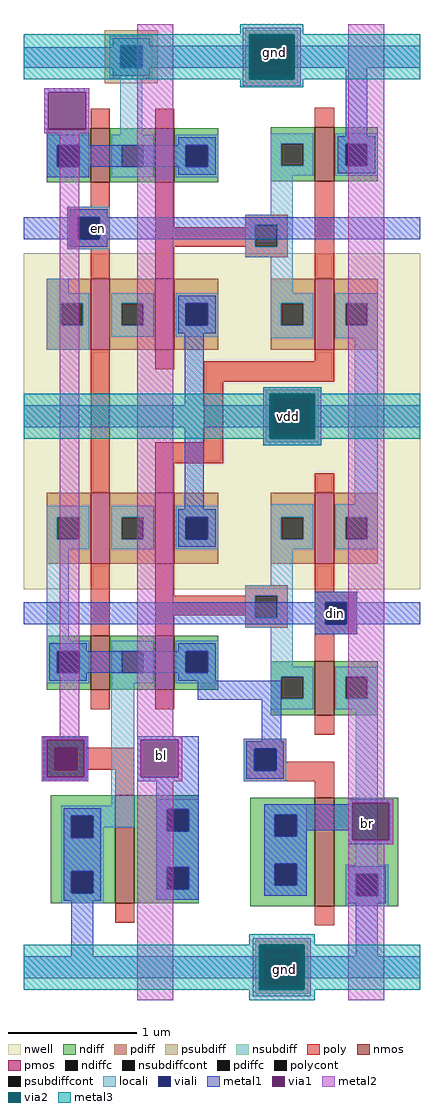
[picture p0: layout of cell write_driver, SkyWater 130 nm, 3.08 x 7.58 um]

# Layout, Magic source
magic
tech sky130A
<< nwell >>
rect 0 294 308 555
<< nmos >>
rect 52 610 67 652
rect 102 610 117 652
rect 226 611 241 653
rect 52 216 67 258
rect 102 216 117 258
rect 226 196 241 238
rect 71 50 86 134
rect 226 48 241 132
<< pmos >>
rect 52 480 67 535
rect 102 480 117 535
rect 226 480 241 535
rect 52 314 67 369
rect 102 314 117 369
rect 226 314 241 369
<< ndiff >>
rect 18 639 52 652
rect 18 622 26 639
rect 43 622 52 639
rect 18 610 52 622
rect 67 639 102 652
rect 67 622 76 639
rect 93 622 102 639
rect 67 610 102 622
rect 117 639 151 652
rect 117 622 126 639
rect 143 622 151 639
rect 117 610 151 622
rect 192 640 226 653
rect 192 623 200 640
rect 217 623 226 640
rect 192 611 226 623
rect 241 640 275 653
rect 241 623 250 640
rect 267 623 275 640
rect 241 611 275 623
rect 18 246 52 258
rect 18 229 26 246
rect 43 229 52 246
rect 18 216 52 229
rect 67 246 102 258
rect 67 229 76 246
rect 93 229 102 246
rect 67 216 102 229
rect 117 246 151 258
rect 117 229 126 246
rect 143 229 151 246
rect 117 216 151 229
rect 192 226 226 238
rect 192 209 200 226
rect 217 209 226 226
rect 192 196 226 209
rect 241 226 275 238
rect 241 209 250 226
rect 267 209 275 226
rect 241 196 275 209
rect 21 118 71 134
rect 21 101 37 118
rect 54 101 71 118
rect 21 75 71 101
rect 21 58 37 75
rect 54 58 71 75
rect 21 50 71 58
rect 86 123 136 134
rect 86 106 111 123
rect 128 106 136 123
rect 86 78 136 106
rect 86 61 111 78
rect 128 61 136 78
rect 86 50 136 61
rect 176 119 226 132
rect 176 102 195 119
rect 212 102 226 119
rect 176 81 226 102
rect 176 64 195 81
rect 212 64 226 81
rect 176 48 226 64
rect 241 73 291 132
rect 241 56 258 73
rect 275 56 291 73
rect 241 48 291 56
<< pdiff >>
rect 18 516 52 535
rect 18 499 29 516
rect 46 499 52 516
rect 18 480 52 499
rect 67 516 102 535
rect 67 499 76 516
rect 93 499 102 516
rect 67 480 102 499
rect 117 516 151 535
rect 117 499 126 516
rect 143 499 151 516
rect 117 480 151 499
rect 192 516 226 535
rect 192 499 200 516
rect 217 499 226 516
rect 192 480 226 499
rect 241 516 275 535
rect 241 499 250 516
rect 267 499 275 516
rect 241 480 275 499
rect 18 350 52 369
rect 18 333 26 350
rect 43 333 52 350
rect 18 314 52 333
rect 67 350 102 369
rect 67 333 76 350
rect 93 333 102 350
rect 67 314 102 333
rect 117 350 151 369
rect 117 333 126 350
rect 143 333 151 350
rect 117 314 151 333
rect 192 350 226 369
rect 192 333 200 350
rect 217 333 226 350
rect 192 314 226 333
rect 241 350 275 369
rect 241 333 250 350
rect 267 333 275 350
rect 241 314 275 333
<< ndiffc >>
rect 26 622 43 639
rect 76 622 93 639
rect 126 622 143 639
rect 200 623 217 640
rect 250 623 267 640
rect 26 229 43 246
rect 76 229 93 246
rect 126 229 143 246
rect 200 209 217 226
rect 250 209 267 226
rect 37 101 54 118
rect 37 58 54 75
rect 111 106 128 123
rect 111 61 128 78
rect 195 102 212 119
rect 195 64 212 81
rect 258 56 275 73
<< pdiffc >>
rect 29 499 46 516
rect 76 499 93 516
rect 126 499 143 516
rect 200 499 217 516
rect 250 499 267 516
rect 26 333 43 350
rect 76 333 93 350
rect 126 333 143 350
rect 200 333 217 350
rect 250 333 267 350
<< psubdiff >>
rect 63 716 104 728
rect 63 699 75 716
rect 92 699 104 716
rect 63 687 104 699
rect 172 716 213 728
rect 172 699 184 716
rect 201 699 213 716
rect 172 687 213 699
rect 180 9 221 21
rect 180 -8 192 9
rect 209 -8 221 9
rect 180 -20 221 -8
<< nsubdiff >>
rect 188 437 229 449
rect 188 420 200 437
rect 217 420 229 437
rect 188 408 229 420
<< psubdiffcont >>
rect 75 699 92 716
rect 184 699 201 716
rect 192 -8 209 9
<< nsubdiffcont >>
rect 200 420 217 437
<< poly >>
rect 52 652 67 667
rect 102 652 117 667
rect 226 653 241 668
rect 52 591 67 610
rect 34 583 67 591
rect 34 566 42 583
rect 59 566 67 583
rect 34 558 67 566
rect 52 535 67 558
rect 102 575 117 610
rect 172 577 205 585
rect 172 575 180 577
rect 102 560 180 575
rect 197 560 205 577
rect 102 535 117 560
rect 172 552 205 560
rect 226 535 241 611
rect 52 369 67 480
rect 102 465 117 480
rect 226 471 241 480
rect 140 455 241 471
rect 140 408 155 455
rect 102 392 155 408
rect 102 369 117 392
rect 226 369 241 384
rect 52 258 67 314
rect 102 289 117 314
rect 172 289 205 297
rect 102 274 180 289
rect 102 258 117 274
rect 172 272 180 274
rect 197 272 205 289
rect 172 264 205 272
rect 226 292 241 314
rect 226 284 259 292
rect 226 267 234 284
rect 251 267 259 284
rect 226 259 259 267
rect 226 238 241 259
rect 52 201 67 216
rect 102 201 117 216
rect 226 181 241 196
rect 16 171 49 179
rect 16 154 24 171
rect 41 154 86 171
rect 16 146 49 154
rect 71 134 86 154
rect 171 170 204 178
rect 171 153 179 170
rect 196 160 204 170
rect 196 153 241 160
rect 171 145 241 153
rect 226 132 241 145
rect 71 35 86 50
rect 226 33 241 48
<< polycont >>
rect 42 566 59 583
rect 180 560 197 577
rect 180 272 197 289
rect 234 267 251 284
rect 24 154 41 171
rect 179 153 196 170
<< locali >>
rect 67 716 100 724
rect 67 699 75 716
rect 92 699 100 716
rect 67 691 100 699
rect 176 716 209 724
rect 176 699 184 716
rect 201 699 209 716
rect 176 691 209 699
rect 75 647 92 691
rect 186 690 203 691
rect 18 639 51 647
rect 18 622 26 639
rect 43 622 51 639
rect 18 614 51 622
rect 68 639 101 647
rect 68 622 76 639
rect 93 622 101 639
rect 68 614 101 622
rect 118 639 151 647
rect 118 622 126 639
rect 143 622 151 639
rect 118 614 151 622
rect 192 640 225 648
rect 192 623 200 640
rect 217 623 225 640
rect 192 615 225 623
rect 242 640 275 648
rect 242 623 250 640
rect 267 623 275 640
rect 242 615 275 623
rect 34 583 67 591
rect 192 585 209 615
rect 34 566 42 583
rect 59 566 67 583
rect 34 558 67 566
rect 172 577 209 585
rect 172 560 180 577
rect 197 560 209 577
rect 172 552 209 560
rect 18 524 35 535
rect 192 524 209 552
rect 18 516 51 524
rect 18 499 29 516
rect 46 499 51 516
rect 18 480 51 499
rect 68 516 101 524
rect 68 499 76 516
rect 93 499 101 516
rect 68 490 101 499
rect 118 516 151 524
rect 118 499 126 516
rect 143 499 151 516
rect 118 490 151 499
rect 192 516 225 524
rect 192 499 200 516
rect 217 499 225 516
rect 192 489 225 499
rect 242 516 275 524
rect 242 499 250 516
rect 267 499 275 516
rect 242 489 275 499
rect 192 437 225 445
rect 192 420 200 437
rect 217 420 225 437
rect 192 412 225 420
rect 208 411 225 412
rect 257 360 275 489
rect 18 350 51 359
rect 18 333 26 350
rect 43 333 51 350
rect 18 325 51 333
rect 68 350 101 359
rect 68 333 76 350
rect 93 333 101 350
rect 68 325 101 333
rect 118 350 151 359
rect 118 333 126 350
rect 143 333 151 350
rect 118 325 151 333
rect 192 350 225 360
rect 192 333 200 350
rect 217 333 225 350
rect 192 325 225 333
rect 242 350 275 360
rect 242 333 250 350
rect 267 333 275 350
rect 242 325 275 333
rect 18 254 35 325
rect 192 297 209 325
rect 172 289 209 297
rect 172 272 180 289
rect 197 272 209 289
rect 172 264 209 272
rect 18 246 51 254
rect 18 229 26 246
rect 43 229 51 246
rect 18 221 51 229
rect 68 246 101 254
rect 68 229 76 246
rect 93 229 101 246
rect 68 221 101 229
rect 118 246 151 254
rect 118 229 126 246
rect 143 229 151 246
rect 118 221 151 229
rect 192 234 209 264
rect 226 284 259 292
rect 226 267 234 284
rect 251 267 259 284
rect 226 259 259 267
rect 192 226 225 234
rect 16 171 49 179
rect 16 154 24 171
rect 41 154 49 171
rect 16 146 49 154
rect 68 126 86 221
rect 192 209 200 226
rect 217 209 225 226
rect 192 201 225 209
rect 242 226 275 234
rect 242 209 250 226
rect 267 209 275 226
rect 242 201 275 209
rect 171 170 204 178
rect 171 153 179 170
rect 196 153 204 170
rect 171 145 204 153
rect 29 118 86 126
rect 29 101 37 118
rect 54 109 86 118
rect 103 123 136 131
rect 54 101 62 109
rect 29 75 62 101
rect 29 58 37 75
rect 54 58 62 75
rect 29 50 62 58
rect 103 106 111 123
rect 128 106 136 123
rect 103 78 136 106
rect 103 61 111 78
rect 128 61 136 78
rect 103 53 136 61
rect 187 119 220 127
rect 187 102 195 119
rect 212 102 220 119
rect 187 81 220 102
rect 187 64 195 81
rect 212 64 220 81
rect 258 80 275 201
rect 187 56 220 64
rect 250 73 283 80
rect 250 56 258 73
rect 275 56 283 73
rect 250 48 283 56
rect 184 9 217 17
rect 184 -8 192 9
rect 209 -8 217 9
rect 184 -16 217 -8
<< viali >>
rect 75 699 92 716
rect 184 699 201 716
rect 26 622 43 639
rect 126 622 143 639
rect 250 623 267 640
rect 42 566 59 583
rect 126 499 143 516
rect 200 420 217 437
rect 126 333 143 350
rect 26 229 43 246
rect 126 229 143 246
rect 234 267 251 284
rect 24 154 41 171
rect 179 153 196 170
rect 37 101 54 118
rect 37 58 54 75
rect 111 106 128 123
rect 111 61 128 78
rect 195 102 212 119
rect 195 64 212 81
rect 258 56 275 73
rect 192 -8 209 9
<< metal1 >>
rect 175 722 210 725
rect 69 716 98 722
rect 175 716 178 722
rect 207 716 210 722
rect 69 715 75 716
rect 0 699 75 715
rect 92 699 178 716
rect 207 699 308 716
rect 69 693 98 699
rect 175 693 178 699
rect 207 693 210 699
rect 175 690 210 693
rect 16 680 51 683
rect 16 651 19 680
rect 48 651 51 680
rect 16 648 51 651
rect 18 639 51 648
rect 250 646 267 699
rect 120 639 149 645
rect 18 622 26 639
rect 43 622 126 639
rect 143 622 149 639
rect 18 614 51 622
rect 120 616 149 622
rect 244 640 273 646
rect 244 623 250 640
rect 267 623 273 640
rect 244 617 273 623
rect 36 583 65 589
rect 0 566 42 583
rect 59 566 308 583
rect 36 560 65 566
rect 120 516 149 522
rect 120 499 126 516
rect 143 499 149 516
rect 120 493 149 499
rect 125 437 140 493
rect 191 443 226 446
rect 191 437 194 443
rect 223 437 226 443
rect 0 420 194 437
rect 223 420 308 437
rect 125 356 140 420
rect 191 414 194 420
rect 223 414 226 420
rect 191 411 226 414
rect 120 350 149 356
rect 120 333 126 350
rect 143 333 149 350
rect 120 327 149 333
rect 226 284 259 292
rect 0 267 234 284
rect 251 267 308 284
rect 226 259 259 267
rect 20 246 49 252
rect 120 246 149 252
rect 20 229 26 246
rect 43 229 126 246
rect 143 229 149 246
rect 20 223 49 229
rect 120 223 149 229
rect 135 208 200 223
rect 15 177 50 180
rect 15 148 18 177
rect 47 148 50 177
rect 15 145 50 148
rect 88 177 136 180
rect 88 148 91 177
rect 120 148 136 177
rect 185 176 200 208
rect 88 145 136 148
rect 173 170 202 176
rect 173 153 179 170
rect 196 153 202 170
rect 173 147 202 153
rect 31 118 60 124
rect 31 101 37 118
rect 54 101 60 118
rect 31 75 60 101
rect 31 58 37 75
rect 54 58 60 75
rect 31 52 60 58
rect 103 123 136 145
rect 252 128 287 131
rect 252 127 255 128
rect 103 106 111 123
rect 128 106 136 123
rect 103 78 136 106
rect 103 61 111 78
rect 128 61 136 78
rect 103 53 136 61
rect 187 119 255 127
rect 187 102 195 119
rect 212 107 255 119
rect 212 102 220 107
rect 187 81 220 102
rect 252 99 255 107
rect 284 99 287 128
rect 252 96 287 99
rect 187 64 195 81
rect 212 64 220 81
rect 187 56 220 64
rect 252 73 281 79
rect 252 56 258 73
rect 275 56 281 73
rect 37 9 54 52
rect 252 50 281 56
rect 183 15 218 18
rect 183 9 186 15
rect 215 9 218 15
rect 258 9 275 50
rect 0 -8 186 9
rect 215 -8 308 9
rect 183 -14 186 -8
rect 215 -14 218 -8
rect 183 -17 218 -14
<< via1 >>
rect 178 716 207 722
rect 178 699 184 716
rect 184 699 201 716
rect 201 699 207 716
rect 178 693 207 699
rect 19 651 48 680
rect 194 437 223 443
rect 194 420 200 437
rect 200 420 217 437
rect 217 420 223 437
rect 194 414 223 420
rect 18 171 47 177
rect 18 154 24 171
rect 24 154 41 171
rect 41 154 47 171
rect 18 148 47 154
rect 91 148 120 177
rect 255 99 284 128
rect 186 9 215 15
rect 186 -8 192 9
rect 192 -8 209 9
rect 209 -8 215 9
rect 186 -14 215 -8
<< metal2 >>
rect 16 680 51 683
rect 16 651 19 680
rect 48 651 51 680
rect 16 648 51 651
rect 28 180 43 648
rect 88 180 116 733
rect 170 725 215 730
rect 170 690 175 725
rect 210 690 215 725
rect 170 685 215 690
rect 186 446 231 451
rect 186 411 191 446
rect 226 411 231 446
rect 186 406 231 411
rect 14 177 50 180
rect 14 148 18 177
rect 47 148 50 177
rect 14 145 50 148
rect 88 177 123 180
rect 88 148 91 177
rect 120 148 123 177
rect 88 145 123 148
rect 88 -25 116 145
rect 252 131 280 733
rect 252 128 287 131
rect 252 99 255 128
rect 284 99 287 128
rect 252 96 287 99
rect 178 18 223 23
rect 178 -17 183 18
rect 218 -17 223 18
rect 178 -22 223 -17
rect 252 -25 280 96
<< via2 >>
rect 175 722 210 725
rect 175 693 178 722
rect 178 693 207 722
rect 207 693 210 722
rect 175 690 210 693
rect 191 443 226 446
rect 191 414 194 443
rect 194 414 223 443
rect 223 414 226 443
rect 191 411 226 414
rect 183 15 218 18
rect 183 -14 186 15
rect 186 -14 215 15
rect 215 -14 218 15
rect 183 -17 218 -14
<< metal3 >>
rect 168 725 217 733
rect 0 690 175 725
rect 210 690 308 725
rect 168 684 217 690
rect 186 446 231 451
rect 0 411 191 446
rect 226 411 308 446
rect 186 406 231 411
rect 175 18 226 26
rect 0 -17 183 18
rect 218 -17 308 18
rect 175 -25 226 -17
<< labels >>
flabel metal1 s 234 269 251 282 0 FreeSans 200 180 0 0 din
port 0 nsew
flabel metal1 s 50 567 66 581 0 FreeSans 200 0 0 0 en
port 3 nsew
flabel metal2 s 96 156 118 174 0 FreeSans 200 0 0 0 bl
port 1 nsew
flabel metal2 s 256 103 278 121 0 FreeSans 200 0 0 0 br
port 2 nsew
flabel metal3 s 192 -9 213 7 0 FreeSans 200 180 0 0 gnd
port 5 nsew
flabel metal3 s 197 422 214 434 0 FreeSans 200 0 0 0 vdd
port 4 nsew
flabel metal3 s 184 703 205 719 0 FreeSans 200 180 0 0 gnd
<< properties >>
string FIXED_BBOX 0 0 308 708
<< end >>
